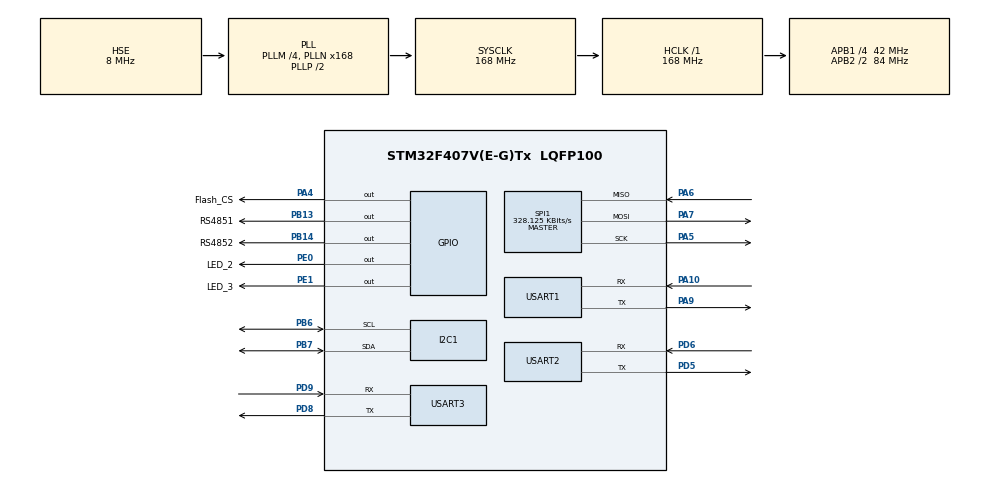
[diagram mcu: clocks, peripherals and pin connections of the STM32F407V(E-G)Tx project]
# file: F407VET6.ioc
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Dma.Request0=USART2_RX
Dma.Request1=USART2_TX
Dma.USART2_RX.0.Direction=DMA_PERIPH_TO_MEMORY
Dma.USART2_RX.0.FIFOMode=DMA_FIFOMODE_ENABLE
Dma.USART2_RX.0.FIFOThreshold=DMA_FIFO_THRESHOLD_FULL
Dma.USART2_RX.0.Instance=DMA1_Stream5
Dma.USART2_RX.0.MemBurst=DMA_MBURST_SINGLE
Dma.USART2_RX.0.MemDataAlignment=DMA_MDATAALIGN_BYTE
Dma.USART2_RX.0.MemInc=DMA_MINC_ENABLE
Dma.USART2_RX.0.Mode=DMA_NORMAL
Dma.USART2_RX.0.PeriphBurst=DMA_PBURST_SINGLE
Dma.USART2_RX.0.PeriphDataAlignment=DMA_PDATAALIGN_BYTE
Dma.USART2_RX.0.PeriphInc=DMA_PINC_DISABLE
Dma.USART2_RX.0.Priority=DMA_PRIORITY_LOW
Dma.USART2_TX.1.Direction=DMA_MEMORY_TO_PERIPH
Dma.USART2_TX.1.FIFOMode=DMA_FIFOMODE_DISABLE
Dma.USART2_TX.1.Instance=DMA1_Stream6
Dma.USART2_TX.1.MemDataAlignment=DMA_MDATAALIGN_BYTE
Dma.USART2_TX.1.MemInc=DMA_MINC_ENABLE
Dma.USART2_TX.1.Mode=DMA_NORMAL
Dma.USART2_TX.1.PeriphDataAlignment=DMA_PDATAALIGN_BYTE
Dma.USART2_TX.1.PeriphInc=DMA_PINC_DISABLE
Dma.USART2_TX.1.Priority=DMA_PRIORITY_LOW
FREERTOS.Tasks01=SYSTask,24,128,StartSYSTask,Default,NULL,Dynamic,NULL,NULL
FREERTOS.configTIMER_TASK_PRIORITY=48
I2C1.I2C_Mode=I2C_Fast
Mcu.Family=STM32F4
Mcu.Name=STM32F407V(E-G)Tx
Mcu.Package=LQFP100
NVIC.DMA1_Stream5_IRQn=true\:5\:0\:false\:false\:true\:true\:false\:true
NVIC.DMA1_Stream6_IRQn=true\:5\:0\:false\:false\:true\:true\:false\:true
NVIC.PriorityGroup=NVIC_PRIORITYGROUP_4
NVIC.SPI1_IRQn=true\:5\:0\:false\:false\:true\:true\:true\:true
NVIC.TIM6_DAC_IRQn=true\:0\:0\:false\:false\:true\:false\:false\:true
NVIC.TimeBase=TIM6_DAC_IRQn
NVIC.TimeBaseIP=TIM6
NVIC.USART2_IRQn=true\:6\:0\:true\:false\:true\:true\:true\:false
NVIC.USART3_IRQn=true\:5\:0\:false\:false\:true\:true\:true\:false
PA10.Mode=Asynchronous
PA10.Signal=USART1_RX
PA13.Mode=Serial_Wire
PA13.Signal=SYS_JTMS-SWDIO
PA14.Mode=Serial_Wire
PA14.Signal=SYS_JTCK-SWCLK
PA4.GPIO_Label=Flash_CS
PA4.GPIO_Speed=GPIO_SPEED_FREQ_LOW
PA4.PinState=GPIO_PIN_SET
PA4.Signal=GPIO_Output
PA5.Mode=Full_Duplex_Master
PA5.Signal=SPI1_SCK
PA6.Mode=Full_Duplex_Master
PA6.Signal=SPI1_MISO
PA7.Mode=Full_Duplex_Master
PA7.Signal=SPI1_MOSI
PA9.Mode=Asynchronous
PA9.Signal=USART1_TX
PB13.GPIO_Label=RS4851
PB13.Signal=GPIO_Output
PB14.GPIO_Label=RS4852
PB14.Signal=GPIO_Output
PB6.Mode=I2C
PB6.Signal=I2C1_SCL
PB7.Mode=I2C
PB7.Signal=I2C1_SDA
PD5.Mode=Asynchronous
PD5.Signal=USART2_TX
PD6.Mode=Asynchronous
PD6.Signal=USART2_RX
PD8.Mode=Asynchronous
PD8.Signal=USART3_TX
PD9.Mode=Asynchronous
PD9.Signal=USART3_RX
PE0.GPIO_Label=LED_2
PE0.GPIO_Speed=GPIO_SPEED_FREQ_MEDIUM
PE0.PinState=GPIO_PIN_SET
PE0.Signal=GPIO_Output
PE1.GPIO_Label=LED_3
PE1.GPIO_Speed=GPIO_SPEED_FREQ_MEDIUM
PE1.PinState=GPIO_PIN_SET
PE1.Signal=GPIO_Output
PH0-OSC_IN.Mode=HSE-External-Oscillator
PH0-OSC_IN.Signal=RCC_OSC_IN
PH1-OSC_OUT.Mode=HSE-External-Oscillator
PH1-OSC_OUT.Signal=RCC_OSC_OUT
ProjectManager.HeapSize=0x200
ProjectManager.StackSize=0x800
ProjectManager.TargetToolchain=MDK-ARM V5.27
RCC.48MHZClocksFreq_Value=84000000
RCC.AHBFreq_Value=168000000
RCC.APB1CLKDivider=RCC_HCLK_DIV4
RCC.APB1Freq_Value=42000000
RCC.APB1TimFreq_Value=84000000
RCC.APB2CLKDivider=RCC_HCLK_DIV2
RCC.APB2Freq_Value=84000000
RCC.APB2TimFreq_Value=168000000
RCC.CortexFreq_Value=168000000
RCC.HCLKFreq_Value=168000000
RCC.HSE_VALUE=8000000
RCC.HSI_VALUE=16000000
RCC.LSE_VALUE=32768
RCC.PLLM=4
RCC.PLLN=168
RCC.PLLSourceVirtual=RCC_PLLSOURCE_HSE
RCC.SYSCLKFreq_VALUE=168000000
RCC.SYSCLKSource=RCC_SYSCLKSOURCE_PLLCLK
RCC.VCOOutputFreq_Value=336000000
SPI1.BaudRatePrescaler=SPI_BAUDRATEPRESCALER_256
SPI1.CalculateBaudRate=328.125 KBits/s
SPI1.Direction=SPI_DIRECTION_2LINES
SPI1.Mode=SPI_MODE_MASTER
SPI1.VirtualType=VM_MASTER
TIM7.AutoReloadPreload=TIM_AUTORELOAD_PRELOAD_ENABLE
TIM7.Prescaler=840-1
USART1.VirtualMode=VM_ASYNC
USART2.Parity=PARITY_NONE
USART2.VirtualMode=VM_ASYNC
USART2.WordLength=WORDLENGTH_8B
USART3.VirtualMode=VM_ASYNC
VP_FREERTOS_VS_CMSIS_V2.Mode=CMSIS_V2
VP_SYS_VS_tim6.Mode=TIM6
VP_TIM7_VS_ClockSourceINT.Mode=Enable_Timer
board=custom

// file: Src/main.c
/* USER CODE BEGIN Header */
/**
  ******************************************************************************
  * @file           : main.c
  * @brief          : Main program body
  ******************************************************************************
  * @attention
  *
  * <h2><center>&copy; Copyright (c) 2021 STMicroelectronics.
  * All rights reserved.</center></h2>
  *
  * This software component is licensed by ST under Ultimate Liberty license
  * SLA0044, the "License"; You may not use this file except in compliance with
  * the License. You may obtain a copy of the License at:
  *                             www.st.com/SLA0044
  *
  ******************************************************************************
  */
/* USER CODE END Header */
#include "main.h"
#include "cmsis_os.h"
#include "dma.h"
#include "i2c.h"
#include "spi.h"
#include "tim.h"
#include "usart.h"
#include "gpio.h"

void SystemClock_Config(void);
void MX_FREERTOS_Init(void);

int main(void)
{

  /* MCU Configuration--------------------------------------------------------*/

  /* Reset of all peripherals, Initializes the Flash interface and the Systick. */
  HAL_Init();

  /* Configure the system clock */
  SystemClock_Config();

  /* Initialize all configured peripherals */
  MX_GPIO_Init();
  MX_DMA_Init();
  MX_USART1_UART_Init();
  MX_USART2_UART_Init();
  MX_USART3_UART_Init();
  MX_SPI1_Init();
  MX_I2C1_Init();
  MX_TIM7_Init();

  /* Init scheduler */
  osKernelInitialize();  /* Call init function for freertos objects (in freertos.c) */
  MX_FREERTOS_Init();
  /* Start scheduler */
  osKernelStart();

  /* We should never get here as control is now taken by the scheduler */
  /* Infinite loop */
  while (1)
  {

  }
}

void SystemClock_Config(void)
{
  RCC_OscInitTypeDef RCC_OscInitStruct = {0};
  RCC_ClkInitTypeDef RCC_ClkInitStruct = {0};

  /** Configure the main internal regulator output voltage
  */
  __HAL_RCC_PWR_CLK_ENABLE();
  __HAL_PWR_VOLTAGESCALING_CONFIG(PWR_REGULATOR_VOLTAGE_SCALE1);
  /** Initializes the RCC Oscillators according to the specified parameters
  * in the RCC_OscInitTypeDef structure.
  */
  RCC_OscInitStruct.OscillatorType = RCC_OSCILLATORTYPE_HSE;
  RCC_OscInitStruct.HSEState = RCC_HSE_ON;
  RCC_OscInitStruct.PLL.PLLState = RCC_PLL_ON;
  RCC_OscInitStruct.PLL.PLLSource = RCC_PLLSOURCE_HSE;
  RCC_OscInitStruct.PLL.PLLM = 4;
  RCC_OscInitStruct.PLL.PLLN = 168;
  RCC_OscInitStruct.PLL.PLLP = RCC_PLLP_DIV2;
  RCC_OscInitStruct.PLL.PLLQ = 4;
  if (HAL_RCC_OscConfig(&RCC_OscInitStruct) != HAL_OK)
  {
    Error_Handler();
  }
  /** Initializes the CPU, AHB and APB buses clocks
  */
  RCC_ClkInitStruct.ClockType = RCC_CLOCKTYPE_HCLK|RCC_CLOCKTYPE_SYSCLK
                              |RCC_CLOCKTYPE_PCLK1|RCC_CLOCKTYPE_PCLK2;
  RCC_ClkInitStruct.SYSCLKSource = RCC_SYSCLKSOURCE_PLLCLK;
  RCC_ClkInitStruct.AHBCLKDivider = RCC_SYSCLK_DIV1;
  RCC_ClkInitStruct.APB1CLKDivider = RCC_HCLK_DIV4;
  RCC_ClkInitStruct.APB2CLKDivider = RCC_HCLK_DIV2;

  if (HAL_RCC_ClockConfig(&RCC_ClkInitStruct, FLASH_LATENCY_5) != HAL_OK)
  {
    Error_Handler();
  }
}

 /**
  * @brief  Period elapsed callback in non blocking mode
  * @note   This function is called  when TIM6 interrupt took place, inside
  * HAL_TIM_IRQHandler(). It makes a direct call to HAL_IncTick() to increment
  * a global variable "uwTick" used as application time base.
  * @param  htim : TIM handle
  * @retval None
  */
void HAL_TIM_PeriodElapsedCallback(TIM_HandleTypeDef *htim)
{
  if (htim->Instance == TIM6) {
    HAL_IncTick();
  }
}

void Error_Handler(void)
{
}

/************************ (C) COPYRIGHT STMicroelectronics *****END OF FILE****/

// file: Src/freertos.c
/* USER CODE BEGIN Header */
/**
  ******************************************************************************
  * File Name          : freertos.c
  * Description        : Code for freertos applications
  ******************************************************************************
  * @attention
  *
  * <h2><center>&copy; Copyright (c) 2021 STMicroelectronics.
  * All rights reserved.</center></h2>
  *
  * This software component is licensed by ST under Ultimate Liberty license
  * SLA0044, the "License"; You may not use this file except in compliance with
  * the License. You may obtain a copy of the License at:
  *                             www.st.com/SLA0044
  *
  ******************************************************************************
  */
/* USER CODE END Header */

#include "FreeRTOS.h"
#include "task.h"
#include "main.h"
#include "cmsis_os.h"

/* USER CODE BEGIN Includes */
#include "user_mb_app.h"
#include "tim.h"
/* USER CODE END Includes */

/* USER CODE BEGIN PTD */
extern SPI_HandleTypeDef hspi1;
/* USER CODE END PTD */

/* USER CODE BEGIN Variables */
osThreadId_t MasterTaskHandle;
const osThreadAttr_t MasterTask_attributes = {
    .name = "MasterTask",
    .priority = (osPriority_t)osPriorityNormal,
    .stack_size = 128 * 4};
osThreadId_t SlaveTaskHandle;
const osThreadAttr_t SlaveTask_attributes = {
    .name = "SlaveTask",
    .priority = (osPriority_t)osPriorityNormal,
    .stack_size = 128 * 4};
/* USER CODE END Variables */
/* Definitions for SYSTask */
osThreadId_t SYSTaskHandle;
const osThreadAttr_t SYSTask_attributes = {
    .name = "SYSTask",
    .priority = (osPriority_t)osPriorityNormal-10,
    .stack_size = 128 * 4};

/* USER CODE BEGIN FunctionPrototypes */
void MasterTask(void *argument);
void SlaveTask(void *argument);
/* USER CODE END FunctionPrototypes */

void StartSYSTask(void *argument);

void MX_FREERTOS_Init(void); /* (MISRA C 2004 rule 8.1) */

void MX_FREERTOS_Init(void)
{
  /* USER CODE BEGIN Init */
  HAL_TIM_Base_Start(&htim7); //开启帧率测试
  eMBMasterInit(MB_RTU, 3, 115200, MB_PAR_NONE);
  eMBMasterEnable();
  eMBInit(MB_RTU, 0x01, 2, 115200, MB_PAR_NONE);
  eMBEnable();
  /* USER CODE END Init */

  /* Create the thread(s) */
  /* creation of SYSTask */
  SYSTaskHandle = osThreadNew(StartSYSTask, NULL, &SYSTask_attributes);

  /* USER CODE BEGIN RTOS_THREADS */
  /* add threads, ... */

  MasterTaskHandle = osThreadNew(MasterTask, NULL, &MasterTask_attributes);
  SlaveTaskHandle = osThreadNew(SlaveTask, NULL, &SlaveTask_attributes);
  /* USER CODE END RTOS_THREADS */

}

void StartSYSTask(void *argument)
{
  /* USER CODE BEGIN StartSYSTask */
  uint16_t data[10] = {1, 2, 3, 4, 5, 6, 7, 8, 9, 10};
  /* Infinite loop */
  for (;;)
  {
    //eMBMasterReqReadHoldingRegister(1, 0, 10, 100);
    eMBMasterReqWriteMultipleHoldingRegister(1, 0, 10, data, 100);
    HAL_GPIO_TogglePin(LED_2_GPIO_Port, LED_2_Pin);
    for(uint8_t i=0;i<sizeof(data)/sizeof(uint16_t);i++)
      data[i]++;
    osDelay(100);
  }
  /* USER CODE END StartSYSTask */
}

/* USER CODE BEGIN Application */
void MasterTask(void *argument)
{
   for (;;)
  {
    eMBMasterPoll();
  }
}
void SlaveTask(void *argument)
{
  /* USER CODE BEGIN StartDefaultTask */
  /* Infinite loop */
  for (;;)
  {
    eMBPoll();
  }
  /* USER CODE END StartDefaultTask */
}

/* USER CODE END Application */

/************************ (C) COPYRIGHT STMicroelectronics *****END OF FILE****/
